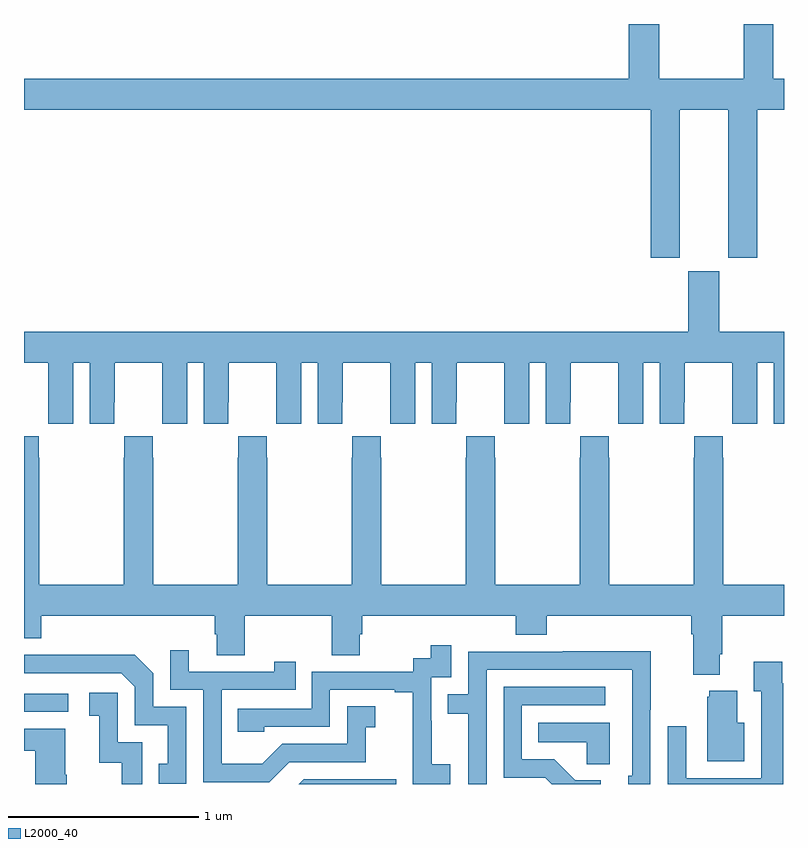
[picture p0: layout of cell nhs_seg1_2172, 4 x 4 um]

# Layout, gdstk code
import gdstk
lib = gdstk.Library(unit=1e-6, precision=1e-09)
def R(c, l, rs):  # rectangles x0, y0, x1, y1
    for r in rs: c.add(gdstk.rectangle(r[:2], r[2:], *l))
def P(c, l, *ps):  # polygons
    for p in ps: c.add(gdstk.Polygon(p, *l))
L2000_40 = (2000, 40)

nhs_seg1_2172 = lib.new_cell('nhs_seg1_2172')
R(nhs_seg1_2172, L2000_40, [(229,532.578,229.234,532.674)])
P(nhs_seg1_2172, L2000_40, [(232.45,535.748),(232.706,535.748),(232.706,534.969),(232.859,534.969),(232.859,535.748),(233,535.748),(233,535.912),(232.944,535.912),(232.944,536.199),(232.789,536.199),(232.789,535.912),(232.344,535.912),(232.344,536.199),(232.184,536.199),(232.184,535.912),(229,535.912),(229,535.748),(232.298,535.748),(232.298,534.969),(232.45,534.969)],
  [(229,534.416),(229.127,534.416),(229.127,534.208),(229.128,534.208),(229.128,534.096),(229.258,534.096),(229.258,534.416),(229.346,534.416),(229.346,534.096),(229.476,534.096),(229.476,534.208),(229.477,534.208),(229.477,534.416),(229.727,534.416),(229.727,534.208),(229.728,534.208),(229.728,534.096),(229.858,534.096),(229.858,534.416),(229.946,534.416),(229.946,534.096),(230.076,534.096),(230.076,534.208),(230.077,534.208),(230.077,534.416),(230.327,534.416),(230.327,534.208),(230.328,534.208),(230.328,534.096),(230.458,534.096),(230.458,534.416),(230.546,534.416),(230.546,534.096),(230.676,534.096),(230.676,534.208),(230.677,534.208),(230.677,534.416),(230.927,534.416),(230.927,534.208),(230.928,534.208),(230.928,534.096),(231.058,534.096),(231.058,534.416),(231.146,534.416),(231.146,534.096),(231.276,534.096),(231.276,534.208),(231.277,534.208),(231.277,534.416),(231.527,534.416),(231.527,534.208),(231.528,534.208),(231.528,534.096),(231.658,534.096),(231.658,534.416),(231.746,534.416),(231.746,534.096),(231.876,534.096),(231.876,534.208),(231.877,534.208),(231.877,534.416),(232.127,534.416),(232.127,534.208),(232.128,534.208),(232.128,534.096),(232.258,534.096),(232.258,534.416),(232.346,534.416),(232.346,534.096),(232.476,534.096),(232.476,534.208),(232.477,534.208),(232.477,534.416),(232.727,534.416),(232.727,534.208),(232.728,534.208),(232.728,534.096),(232.858,534.096),(232.858,534.416),(232.946,534.416),(232.946,534.096),(233,534.096),(233,534.58),(232.66,534.58),(232.66,534.897),(232.496,534.897),(232.496,534.58),(229,534.58)],
  [(232.511,532.988),(232.523,532.988),(232.523,532.775),(232.663,532.775),(232.663,532.882),(232.676,532.882),(232.676,533.084),(233,533.084),(233,533.248),(232.68,533.248),(232.68,533.915),(232.677,533.915),(232.677,534.028),(232.527,534.028),(232.527,533.915),(232.525,533.915),(232.525,533.248),(232.08,533.248),(232.08,533.915),(232.077,533.915),(232.077,534.028),(231.927,534.028),(231.927,533.915),(231.925,533.915),(231.925,533.248),(231.48,533.248),(231.48,533.915),(231.477,533.915),(231.477,534.028),(231.327,534.028),(231.327,533.915),(231.325,533.915),(231.325,533.248),(230.88,533.248),(230.88,533.915),(230.877,533.915),(230.877,534.028),(230.727,534.028),(230.727,533.915),(230.725,533.915),(230.725,533.248),(230.28,533.248),(230.28,533.915),(230.277,533.915),(230.277,534.028),(230.127,534.028),(230.127,533.915),(230.125,533.915),(230.125,533.248),(229.68,533.248),(229.68,533.915),(229.677,533.915),(229.677,534.028),(229.527,534.028),(229.527,533.915),(229.525,533.915),(229.525,533.248),(229.08,533.248),(229.08,533.915),(229.077,533.915),(229.077,534.028),(229,534.028),(229,532.967),(229.091,532.967),(229.091,533.084),(230.003,533.084),(230.003,532.986),(230.015,532.986),(230.015,532.876),(230.163,532.876),(230.163,533.084),(230.62,533.084),(230.62,532.876),(230.767,532.876),(230.767,532.986),(230.78,532.986),(230.78,533.084),(231.587,533.084),(231.587,532.985),(231.752,532.985),(231.752,533.084),(232.511,533.084)],
  [(231.244,532.303),(231.146,532.303),(231.146,532.532),(231.144,532.532),(231.144,532.761),(231.249,532.761),(231.249,532.93),(231.141,532.93),(231.141,532.86),(231.048,532.86),(231.048,532.791),(230.514,532.791),(230.514,532.596),(230.125,532.596),(230.125,532.473),(230.265,532.473),(230.265,532.5),(230.61,532.5),(230.61,532.695),(230.951,532.695),(230.951,532.683),(231.047,532.683),(231.047,532.399),(231.046,532.399),(231.046,532.199),(231.244,532.199)],
  [(230.395,532.314),(230.799,532.314),(230.799,532.499),(230.848,532.499),(230.848,532.609),(230.7,532.609),(230.7,532.41),(230.358,532.41),(230.254,532.306),(230.04,532.306),(230.04,532.695),(230.429,532.695),(230.429,532.843),(230.318,532.843),(230.318,532.791),(229.867,532.791),(229.867,532.903),(229.77,532.903),(229.77,532.695),(229.944,532.695),(229.944,532.209),(230.29,532.209)],
  [(231.435,532.8),(232.2,532.8),(232.2,532.242),(232.181,532.242),(232.181,532.199),(232.296,532.199),(232.296,532.591),(232.299,532.591),(232.299,532.898),(231.835,532.898),(231.835,532.896),(231.339,532.896),(231.339,532.671),(231.229,532.671),(231.229,532.57),(231.339,532.57),(231.339,532.199),(231.435,532.199)],
  [(229.854,532.605),(229.68,532.605),(229.68,532.782),(229.582,532.88),(229.174,532.88),(229.174,532.878),(229,532.878),(229,532.782),(229.512,532.782),(229.584,532.71),(229.584,532.509),(229.757,532.509),(229.757,532.305),(229.708,532.305),(229.708,532.2),(229.854,532.2)],
  [(232.997,532.73),(232.99,532.73),(232.99,532.843),(232.841,532.843),(232.841,532.687),(232.881,532.687),(232.881,532.23),(232.485,532.23),(232.485,532.504),(232.389,532.504),(232.389,532.199),(232.997,532.199)],
  [(232.036,532.218),(231.901,532.218),(231.79,532.329),(231.621,532.329),(231.621,532.614),(232.06,532.614),(232.06,532.71),(231.525,532.71),(231.525,532.233),(231.744,532.233),(231.778,532.199),(232.036,532.199)],
  [(232.792,532.522),(232.753,532.522),(232.753,532.69),(232.607,532.69),(232.607,532.659),(232.595,532.659),(232.595,532.319),(232.792,532.319)],
  [(229.623,532.419),(229.494,532.419),(229.494,532.678),(229.344,532.678),(229.344,532.557),(229.397,532.557),(229.397,532.311),(229.515,532.311),(229.515,532.199),(229.623,532.199)],
  [(232.084,532.522),(231.706,532.522),(231.706,532.418),(231.963,532.418),(231.963,532.303),(232.084,532.303)],
  [(229.224,532.249),(229.216,532.249),(229.216,532.489),(229,532.489),(229,532.375),(229.058,532.375),(229.058,532.199),(229.224,532.199)],
  [(230.958,532.224),(230.472,532.224),(230.447,532.199),(230.958,532.199)])

lib.write_gds('nhs_seg1_2172.gds')
